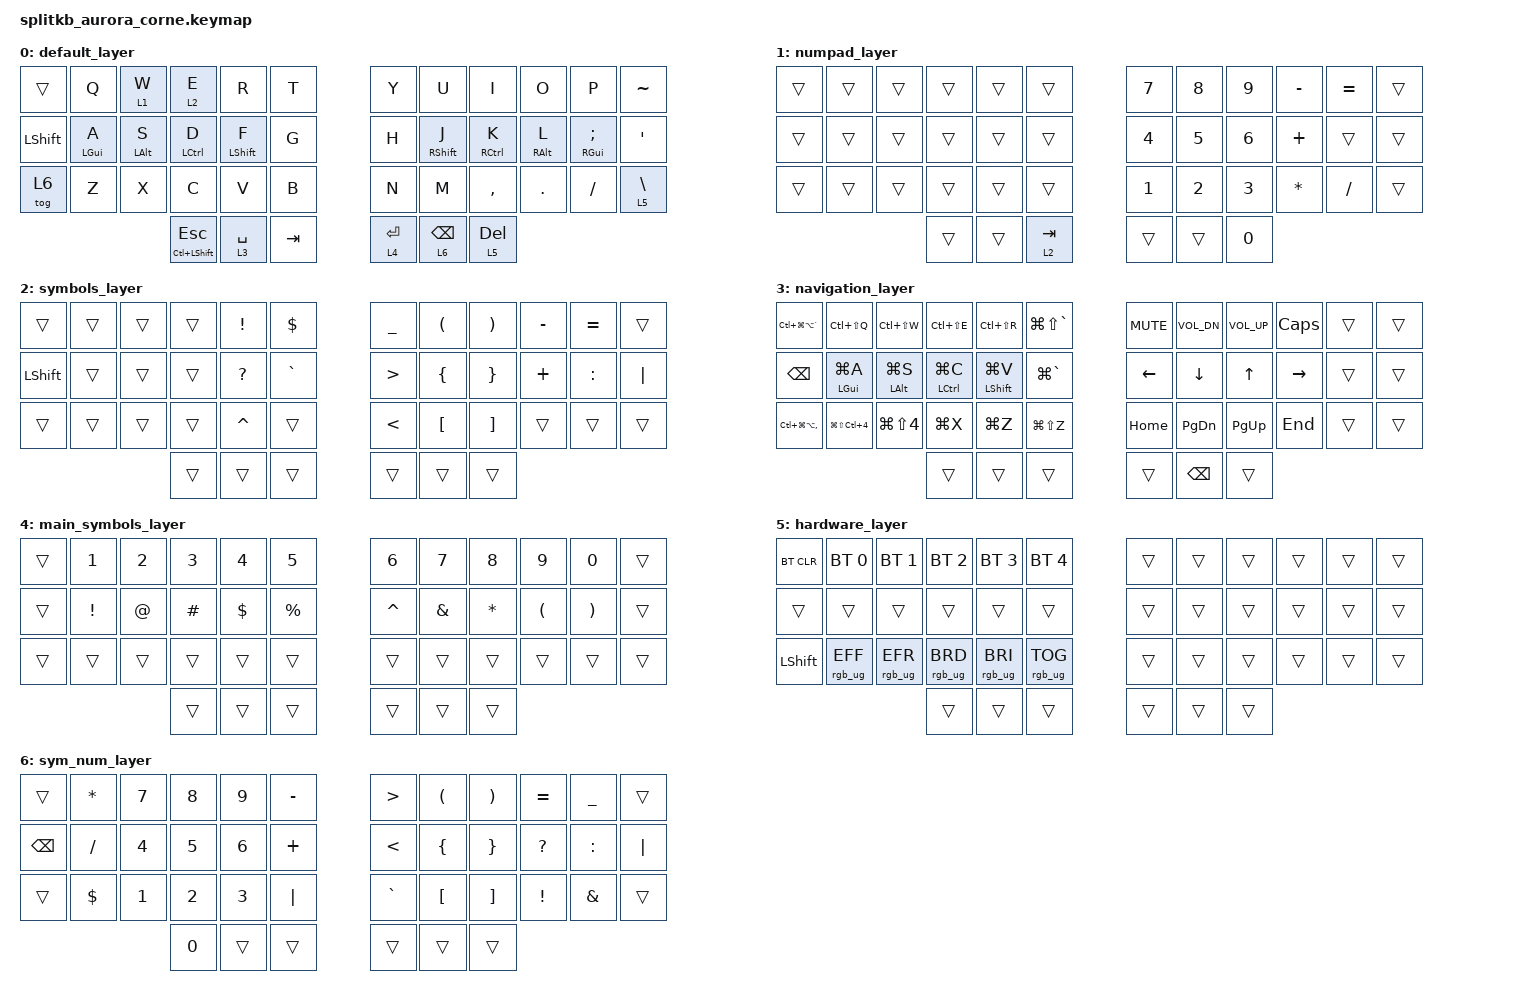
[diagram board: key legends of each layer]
/*
 * Copyright (c) 2020 The ZMK Contributors
 *
 * SPDX-License-Identifier: MIT
 */

#include <behaviors.dtsi>
#include <dt-bindings/zmk/bt.h>
#include <dt-bindings/zmk/keys.h>
#include <dt-bindings/zmk/rgb.h>

#define DEFAULT 0
#define NUMPAD  1
#define SYMBOLS 2
#define NAVIGATION 3
#define MAIN_SYMBOLS 4
#define HARDWARE 5
#define SYMNUM 6

&led_strip { chain-length = <27>; };

/ {
    behaviors {
        hm: homerow_mods {
            flavor = "balanced";
            tapping-term-ms = <280>;
            quick-tap-ms = <175>;                // repeat on tap-into-hold
            require-prior-idle-ms = <150>;
            compatible = "zmk,behavior-hold-tap";
            #binding-cells = <2>;
            bindings = <&kp>, <&kp>;
        };
    };

    keymap {
        compatible = "zmk,keymap";

        default_layer {
            // -----------------------------------------------------------------------------------------
            // |  TAB |  Q  |  W  |  E  |  R  |  T  |   |  Y  |  U   |  I  |  O  |  P  | ESC |
            // | CTRL |  A  |  S  |  D  |  F  |  G  |   |  H  |  J   |  K  |  L  |  ;  |  '   |
            // | SHFT |  Z  |  X  |  C  |  V  |  B  |   |  N  |  M   |  ,  |  .  |  /  | ALT  |
            //                    | GUI | LWR | SPC |   | ENT | BKSP  | RSE |

            bindings = <
&trans      &kp Q       &lt 1 W         &lt 2 E               &kp R             &kp T      &kp Y        &kp U              &kp I         &kp O            &kp P          &kp TILDE
&kp LSHIFT  &hm LGUI A  &hm LEFT_ALT S  &hm LCTRL D           &hm LEFT_SHIFT F  &kp G      &kp H        &hm RIGHT_SHIFT J  &hm RCTRL K   &hm RIGHT_ALT L  &hm RGUI SEMI  &kp SQT
&tog 6      &kp Z       &kp X           &kp C                 &kp V             &kp B      &kp N        &kp M              &kp COMMA     &kp DOT          &kp FSLH       &lt 5 BACKSLASH
                                        &mt LC(LSHFT) ESCAPE  &lt 3 SPACE       &kp TAB    &lt 4 ENTER  &lt 6 BACKSPACE    &lt 5 DELETE
            >;
        };

        numpad_layer {
            bindings = <
&trans  &trans  &trans  &trans  &trans  &trans       &kp N7  &kp N8  &kp N9  &kp MINUS  &kp EQUAL  &trans
&trans  &trans  &trans  &trans  &trans  &trans       &kp N4  &kp N5  &kp N6  &kp PLUS   &trans     &trans
&trans  &trans  &trans  &trans  &trans  &trans       &kp N1  &kp N2  &kp N3  &kp STAR   &kp SLASH  &trans
                        &trans  &trans  &lt 2 TAB    &trans  &trans  &kp N0
            >;
        };

        symbols_layer {
            bindings = <
&trans          &trans  &trans  &trans  &kp EXCLAMATION  &kp DOLLAR    &kp UNDER         &kp LEFT_PARENTHESIS  &kp RIGHT_PARENTHESIS  &kp MINUS  &kp EQUAL  &trans
&kp LEFT_SHIFT  &trans  &trans  &trans  &kp QMARK        &kp GRAVE     &kp GREATER_THAN  &kp LBRC              &kp RBRC               &kp PLUS   &kp COLON  &kp PIPE
&trans          &trans  &trans  &trans  &kp CARET        &trans        &kp LESS_THAN     &kp LBKT              &kp RBKT               &trans     &trans     &trans
                                &trans  &trans           &trans        &trans            &trans                &trans
            >;
        };

        navigation_layer {
            // -----------------------------------------------------------------------------------------
            // |  TAB |  1  |  2  |  3  |  4  |  5  |   |  7  |  7  |  8  |  9  |  0  | BKSP |
            // | BTCLR| BT1 | BT2 | BT3 | BT4 | BT5 |   |  4  |  5  |  6  | RGT |     |      |
            // | SHFT |     |     |     |     |     |   |  1  |  2  |  3  |     |     |      |
            //                    | GUI |     | SPC |   | ENT |     | ALT |

            bindings = <
&kp LC(LG(LA(GRAVE)))  &kp LC(LS(Q))       &kp LC(LS(W))       &kp LC(LS(E))    &kp LC(LS(R))     &kp LG(LS(GRAVE))    &kp C_MUTE  &kp C_VOL_DN   &kp C_VOL_UP  &kp CAPS   &trans  &trans
&kp BACKSPACE          &mt LGUI LG(A)      &mt LEFT_ALT LG(S)  &mt LCTRL LG(C)  &mt LSHIFT LG(V)  &kp LG(GRAVE)        &kp LEFT    &kp DOWN       &kp UP        &kp RIGHT  &trans  &trans
&kp LC(LG(LA(COMMA)))  &kp LG(LS(LC(N4)))  &kp LG(LS(N4))      &kp LG(X)        &kp LG(Z)         &kp LG(LS(Z))        &kp HOME    &kp PAGE_DOWN  &kp PG_UP     &kp END    &trans  &trans
                                                               &trans           &trans            &trans               &trans      &kp BACKSPACE  &trans
            >;
        };

        main_symbols_layer {
            // -----------------------------------------------------------------------------------------
            // |  TAB |  !  |  @  |  #  |  $  |  %  |   |  ^  |  &  |  *  |  (  |  )  | BKSP |
            // | CTRL |     |     |     |     |     |   |  -  |  =  |  [  |  ]  |  \  |  `   |
            // | SHFT |     |     |     |     |     |   |  _  |  +  |  {  |  }  | "|" |  ~   |
            //                    | GUI |     | SPC |   | ENT |     | ALT |

            bindings = <
&trans  &kp NUMBER_1  &kp NUMBER_2  &kp NUMBER_3  &kp N4      &kp N5         &kp N6     &kp N7    &kp N8    &kp N9                &kp N0                 &trans
&trans  &kp EXCL      &kp AT        &kp HASH      &kp DOLLAR  &kp PERCENT    &kp CARET  &kp AMPS  &kp STAR  &kp LEFT_PARENTHESIS  &kp RIGHT_PARENTHESIS  &trans
&trans  &trans       &trans      &trans        &trans    &trans      &trans     &trans    &trans    &trans                &trans                 &trans
                                    &trans        &trans      &trans         &trans     &trans    &trans
            >;
        };

        hardware_layer {
            bindings = <
&bt BT_CLR  &bt BT_SEL 0     &bt BT_SEL 1     &bt BT_SEL 2     &bt BT_SEL 3     &bt BT_SEL 4       &trans  &trans  &trans  &trans  &trans  &trans
&trans      &trans           &trans           &trans           &trans           &trans             &trans  &trans  &trans  &trans  &trans  &trans
&kp LSHFT   &rgb_ug RGB_EFF  &rgb_ug RGB_EFR  &rgb_ug RGB_BRD  &rgb_ug RGB_BRI  &rgb_ug RGB_TOG    &trans  &trans  &trans  &trans  &trans  &trans
                                              &trans           &trans           &trans             &trans  &trans  &trans
            >;
        };

        sym_num_layer {
            // -----------------------------------------------------------------------------------------
            // |  TAB |  1  |  2  |  3  |  4  |  5  |   |  7  |  7  |  8  |  9  |  0  | BKSP |
            // | BTCLR| BT1 | BT2 | BT3 | BT4 | BT5 |   |  4  |  5  |  6  | RGT |     |      |
            // | SHFT |     |     |     |     |     |   |  1  |  2  |  3  |     |     |      |
            //                    | GUI |     | SPC |   | ENT |     | ALT |

            bindings = <
&trans         &kp STAR    &kp N7  &kp N8  &kp N9  &kp MINUS    &kp GREATER_THAN  &kp LEFT_PARENTHESIS  &kp RIGHT_PARENTHESIS  &kp EQUAL     &kp UNDERSCORE  &trans
&kp BACKSPACE  &kp SLASH   &kp N4  &kp N5  &kp N6  &kp PLUS     &kp LESS_THAN     &kp LBRC              &kp RBRC               &kp QUESTION  &kp COLON       &kp PIPE
&trans         &kp DOLLAR  &kp N1  &kp N2  &kp N3  &kp PIPE     &kp GRAVE         &kp LBKT              &kp RBKT               &kp EXCL      &kp AMPS        &trans
                                   &kp N0  &trans  &trans       &trans            &trans                &trans
            >;
        };
    };
};
